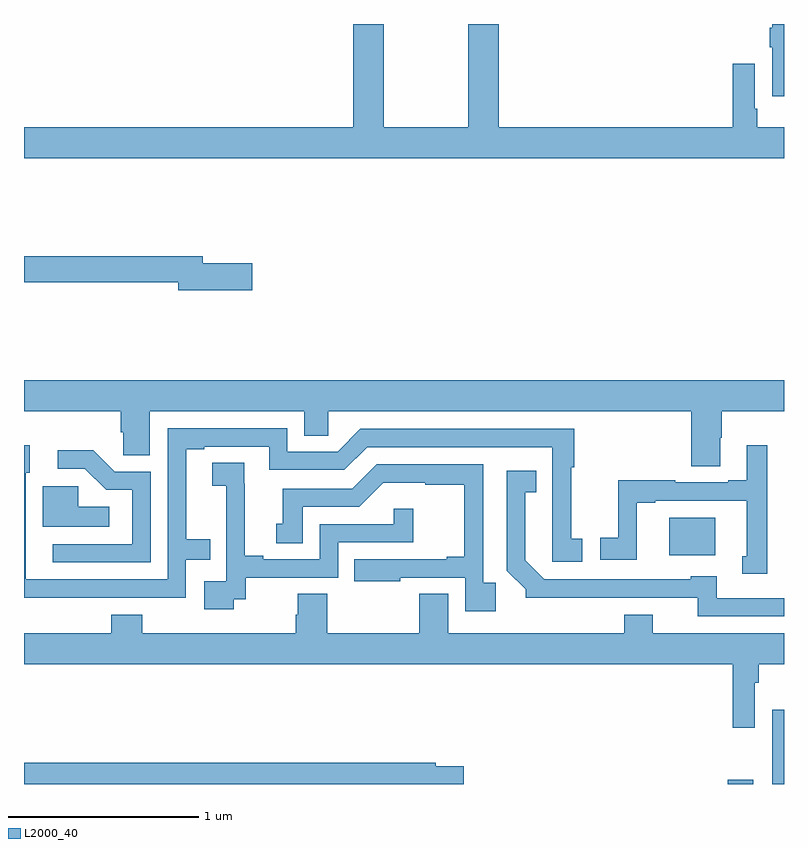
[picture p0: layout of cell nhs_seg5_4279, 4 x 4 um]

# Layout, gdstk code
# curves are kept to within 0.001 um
import gdstk
lib = gdstk.Library(unit=1e-6, precision=1e-09)
def R(c, l, rs):  # rectangles x0, y0, x1, y1
    for r in rs: c.add(gdstk.rectangle(r[:2], r[2:], *l))
def P(c, l, *ps):  # polygons
    for p in ps: c.add(gdstk.Polygon(p, *l))
L2000_40 = (2000, 40)

nhs_seg5_4279 = lib.new_cell('nhs_seg5_4279')
R(nhs_seg5_4279, L2000_40, [(366.704,854.799,366.838,854.821), (366.938,854.799,367,855.19), (366.395,856.004,366.637,856.201)])
P(nhs_seg5_4279, L2000_40, [(367,858.256),(366.859,858.256),(366.859,858.352),(366.846,858.352),(366.846,858.589),(366.73,858.589),(366.73,858.256),(365.498,858.256),(365.498,858.799),(365.338,858.799),(365.338,858.256),(364.893,858.256),(364.893,858.799),(364.733,858.799),(364.733,858.256),(363,858.256),(363,858.092),(367,858.092)],
  [(367,858.799),(366.938,858.799),(366.938,858.779),(366.926,858.779),(366.926,858.676),(366.938,858.676),(366.938,858.42),(367,858.42)],
  [(364.201,857.54),(363.94,857.54),(363.94,857.576),(363,857.576),(363,857.44),(363.812,857.44),(363.812,857.398),(364.201,857.398)],
  [(366.664,856.622),(366.672,856.622),(366.672,856.76),(367,856.76),(367,856.924),(363,856.924),(363,856.76),(363.509,856.76),(363.509,856.651),(363.522,856.651),(363.522,856.528),(363.661,856.528),(363.661,856.76),(364.475,856.76),(364.475,856.633),(364.602,856.633),(364.602,856.76),(366.512,856.76),(366.512,856.471),(366.664,856.471)],
  [(363.374,855.78),(363.852,855.78),(363.852,855.978),(363.98,855.978),(363.98,856.087),(363.853,856.087),(363.853,856.56),(363.949,856.56),(363.949,856.575),(364.29,856.575),(364.29,856.452),(364.686,856.452),(364.806,856.572),(365.781,856.572),(365.78,855.969),(365.938,855.969),(365.938,856.089),(365.88,856.089),(365.88,856.465),(365.897,856.465),(365.897,856.668),(364.77,856.668),(364.65,856.548),(364.386,856.548),(364.386,856.671),(363.756,856.671),(363.756,855.876),(363.009,855.876),(363.009,856.437),(363.031,856.437),(363.031,856.582),(363,856.582),(363,855.779)],
  [(366.913,856.582),(366.803,856.582),(366.803,856.399),(366.707,856.399),(366.707,856.386),(366.428,856.386),(366.428,856.399),(366.127,856.399),(366.127,856.094),(366.033,856.094),(366.033,855.978),(366.226,855.978),(366.226,856.278),(366.322,856.278),(366.322,856.29),(366.803,856.29),(366.803,855.999),(366.779,855.999),(366.779,855.905),(366.913,855.905)],
  [(363.666,856.443),(363.477,856.443),(363.364,856.556),(363.177,856.556),(363.177,856.458),(363.321,856.458),(363.432,856.347),(363.57,856.347),(363.57,856.062),(363.15,856.062),(363.15,855.966),(363.666,855.966)],
  [(364.104,855.771),(364.166,855.771),(364.166,855.885),(364.653,855.885),(364.653,856.071),(365.048,856.071),(365.048,856.249),(364.947,856.249),(364.947,856.167),(364.557,856.167),(364.557,855.981),(364.258,855.981),(364.258,856.001),(364.162,856.001),(364.162,856.379),(364.16,856.379),(364.16,856.49),(363.99,856.49),(363.99,856.369),(364.064,856.369),(364.064,856.171),(364.065,856.171),(364.065,855.867),(363.948,855.867),(363.948,855.72),(364.104,855.72)],
  [(365.483,855.859),(365.418,855.859),(365.418,856.482),(364.857,856.482),(364.728,856.353),(364.361,856.353),(364.361,856.17),(364.328,856.17),(364.328,856.066),(364.468,856.066),(364.468,856.257),(364.764,856.257),(364.892,856.385),(365.111,856.385),(365.111,856.374),(365.317,856.374),(365.317,855.994),(365.225,855.994),(365.225,855.981),(364.738,855.981),(364.738,855.866),(364.981,855.866),(364.981,855.885),(365.322,855.885),(365.322,855.708),(365.483,855.708)],
  [(367,855.777),(366.646,855.777),(366.646,855.892),(366.51,855.892),(366.51,855.876),(365.739,855.876),(365.638,855.977),(365.638,856.334),(365.696,856.334),(365.696,856.447),(365.541,856.447),(365.541,855.922),(365.64,855.823),(365.64,855.779),(366.547,855.78),(366.547,855.681),(367,855.681)],
  [(363.448,856.258),(363.285,856.258),(363.285,856.365),(363.098,856.365),(363.098,856.154),(363.448,856.154)],
  [(366.846,855.332),(366.866,855.332),(366.866,855.428),(367,855.428),(367,855.592),(366.31,855.592),(366.31,855.691),(366.158,855.691),(366.158,855.592),(365.233,855.592),(365.233,855.8),(365.081,855.8),(365.081,855.592),(364.595,855.592),(364.595,855.8),(364.442,855.8),(364.442,855.69),(364.43,855.69),(364.43,855.592),(363.623,855.592),(363.623,855.691),(363.458,855.691),(363.458,855.592),(363,855.592),(363,855.428),(366.73,855.428),(366.73,855.096),(366.846,855.096)],
  [(365.315,854.892),(365.168,854.892),(365.168,854.912),(363,854.912),(363,854.799),(365.315,854.799)])

lib.write_gds('nhs_seg5_4279.gds')
